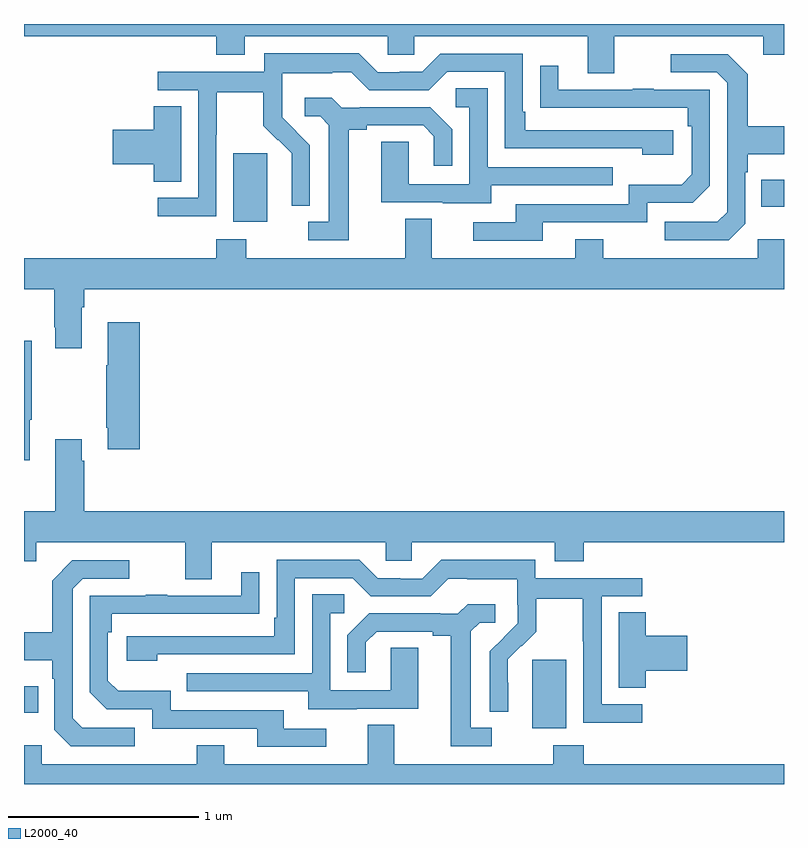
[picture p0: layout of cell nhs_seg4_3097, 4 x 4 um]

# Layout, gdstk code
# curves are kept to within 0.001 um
import gdstk
lib = gdstk.Library(unit=1e-6, precision=1e-09)
def R(c, l, rs):  # rectangles x0, y0, x1, y1
    for r in rs: c.add(gdstk.rectangle(r[:2], r[2:], *l))
def P(c, l, *ps):  # polygons
    for p in ps: c.add(gdstk.Polygon(p, *l))
L2000_40 = (2000, 40)

nhs_seg4_3097 = lib.new_cell('nhs_seg4_3097')
R(nhs_seg4_3097, L2000_40, [(277.676,777.194,277.855,777.555), (275,777.275,275.075,777.415), (276.101,779.858,276.28,780.219), (278.881,779.939,279,780.079)])
P(nhs_seg4_3097, L2000_40, [(278.107,780.836),(278.891,780.836),(278.891,780.737),(279,780.737),(279,780.9),(275,780.9),(275,780.836),(276.011,780.836),(276.011,780.737),(276.163,780.737),(276.163,780.836),(276.915,780.836),(276.915,780.738),(277.053,780.738),(277.053,780.836),(277.967,780.836),(277.967,780.642),(278.107,780.642)],
  [(276.012,780.316),(276.015,780.316),(276.015,780.54),(276.259,780.54),(276.259,780.365),(276.336,780.288),(276.339,780.291),(276.41,780.221),(276.41,780.098),(276.408,780.098),(276.408,779.944),(276.504,779.944),(276.504,780.262),(276.358,780.41),(276.358,780.507),(276.36,780.507),(276.36,780.641),(276.623,780.641),(276.623,780.645),(276.723,780.645),(276.816,780.552),(277.131,780.552),(277.227,780.648),(277.53,780.648),(277.53,780.246),(278.255,780.246),(278.255,780.212),(278.416,780.212),(278.416,780.342),(277.639,780.342),(277.639,780.439),(277.626,780.439),(277.626,780.744),(277.191,780.744),(277.095,780.648),(276.977,780.648),(276.977,780.645),(276.861,780.645),(276.761,780.745),(276.264,780.745),(276.264,780.648),(275.703,780.648),(275.703,780.552),(275.916,780.552),(275.916,779.985),(275.703,779.985),(275.703,779.887),(276.012,779.887)],
  [(278.796,779.85),(278.796,780.119),(278.809,780.119),(278.809,780.215),(279,780.215),(279,780.363),(278.809,780.363),(278.809,780.635),(278.703,780.741),(278.403,780.741),(278.403,780.645),(278.646,780.645),(278.7,780.591),(278.7,779.91),(278.649,779.859),(278.373,779.859),(278.373,779.763),(278.709,779.763)],
  [(277.729,779.856),(278.28,779.856),(278.28,779.958),(278.52,779.958),(278.61,780.048),(278.61,780.555),(278.315,780.555),(278.315,780.56),(278.203,780.56),(278.203,780.555),(277.813,780.555),(277.813,780.679),(277.717,780.679),(277.717,780.46),(278.494,780.459),(278.494,780.362),(278.514,780.362),(278.514,780.108),(278.461,780.055),(278.184,780.055),(278.184,779.952),(277.589,779.952),(277.589,779.856),(277.365,779.856),(277.365,779.76),(277.729,779.76)],
  [(277.459,780.051),(278.099,780.051),(278.099,780.147),(277.44,780.147),(277.44,780.563),(277.272,780.563),(277.272,780.462),(277.344,780.462),(277.344,780.057),(277.026,780.057),(277.026,780.281),(276.881,780.281),(276.881,779.961),(277.205,779.961),(277.205,779.957),(277.459,779.957)],
  [(276.709,780.344),(276.805,780.344),(276.805,780.366),(277.1,780.366),(277.157,780.309),(277.157,780.153),(277.254,780.153),(277.254,780.346),(277.138,780.462),(276.766,780.462),(276.766,780.459),(276.672,780.459),(276.62,780.511),(276.477,780.511),(276.477,780.414),(276.558,780.414),(276.605,780.367),(276.605,779.859),(276.495,779.859),(276.495,779.763),(276.709,779.763)],
  [(275.827,780.467),(275.684,780.467),(275.684,780.344),(275.466,780.344),(275.466,780.161),(275.684,780.161),(275.684,780.07),(275.827,780.07)],
  [(275.305,779.408),(275.318,779.408),(275.318,779.504),(279,779.504),(279,779.767),(278.862,779.767),(278.862,779.668),(278.049,779.668),(278.049,779.767),(277.901,779.767),(277.901,779.668),(277.147,779.668),(277.147,779.876),(277.007,779.876),(277.007,779.668),(276.171,779.668),(276.171,779.767),(276.011,779.767),(276.011,779.668),(275,779.668),(275,779.504),(275.158,779.504),(275.158,779.305),(275.165,779.305),(275.165,779.193),(275.305,779.193)],
  [(275.609,779.329),(275.441,779.329),(275.441,779.105),(275.434,779.105),(275.434,778.774),(275.441,778.774),(275.441,778.662),(275.609,778.662)],
  [(275.029,778.817),(275.041,778.817),(275.041,779.233),(275,779.233),(275,778.605),(275.029,778.605)],
  [(275.989,778.172),(276.903,778.172),(276.903,778.074),(277.041,778.074),(277.041,778.172),(277.793,778.172),(277.793,778.073),(277.946,778.073),(277.946,778.172),(279,778.172),(279,778.336),(275.318,778.336),(275.318,778.601),(275.305,778.601),(275.305,778.714),(275.165,778.714),(275.165,778.336),(275,778.336),(275,778.073),(275.065,778.073),(275.065,778.172),(275.849,778.172),(275.849,777.978),(275.989,777.978)],
  [(278.254,777.321),(278.04,777.321),(278.04,777.888),(278.254,777.888),(278.254,777.984),(277.692,777.984),(277.692,778.081),(277.195,778.081),(277.095,777.981),(276.98,777.981),(276.98,777.984),(276.861,777.984),(276.765,778.08),(276.33,778.08),(276.33,777.775),(276.317,777.775),(276.317,777.678),(275.541,777.678),(275.541,777.548),(275.702,777.548),(275.702,777.582),(276.426,777.582),(276.426,777.984),(276.729,777.984),(276.825,777.888),(277.14,777.888),(277.233,777.981),(277.333,777.981),(277.333,777.977),(277.596,777.977),(277.596,777.843),(277.598,777.843),(277.598,777.746),(277.452,777.598),(277.452,777.28),(277.548,777.28),(277.547,777.557),(277.617,777.627),(277.62,777.624),(277.697,777.701),(277.697,777.876),(277.942,777.876),(277.942,777.652),(277.944,777.652),(277.944,777.223),(278.254,777.223)],
  [(275.584,777.195),(275.307,777.195),(275.256,777.246),(275.256,777.927),(275.31,777.981),(275.554,777.981),(275.554,778.077),(275.253,778.077),(275.148,777.971),(275.148,777.699),(275,777.699),(275,777.551),(275.148,777.551),(275.148,777.455),(275.16,777.455),(275.16,777.186),(275.247,777.099),(275.584,777.099)],
  [(276.592,777.192),(276.367,777.192),(276.367,777.288),(275.772,777.288),(275.772,777.391),(275.495,777.391),(275.442,777.444),(275.442,777.698),(275.462,777.698),(275.462,777.795),(276.239,777.796),(276.239,778.015),(276.143,778.015),(276.143,777.891),(275.753,777.891),(275.753,777.896),(275.641,777.896),(275.641,777.891),(275.346,777.891),(275.346,777.384),(275.436,777.294),(275.676,777.294),(275.676,777.192),(276.227,777.192),(276.227,777.096),(276.592,777.096)],
  [(276.751,777.297),(277.075,777.297),(277.075,777.617),(276.93,777.617),(276.93,777.393),(276.612,777.393),(276.612,777.798),(276.685,777.798),(276.685,777.899),(276.516,777.899),(276.516,777.483),(275.857,777.483),(275.857,777.387),(276.497,777.387),(276.497,777.293),(276.751,777.293)],
  [(277.462,777.195),(277.351,777.195),(277.351,777.703),(277.398,777.75),(277.48,777.75),(277.48,777.847),(277.336,777.847),(277.284,777.795),(277.19,777.795),(277.19,777.798),(276.818,777.798),(276.702,777.682),(276.702,777.489),(276.799,777.489),(276.799,777.645),(276.856,777.702),(277.151,777.702),(277.151,777.68),(277.247,777.68),(277.247,777.099),(277.462,777.099)],
  [(278.273,777.497),(278.491,777.497),(278.491,777.68),(278.273,777.68),(278.273,777.803),(278.129,777.803),(278.129,777.406),(278.273,777.406)],
  [(279,777.004),(277.946,777.004),(277.946,777.103),(277.786,777.103),(277.786,777.004),(276.949,777.004),(276.949,777.212),(276.809,777.212),(276.809,777.004),(276.055,777.004),(276.055,777.103),(275.908,777.103),(275.908,777.004),(275.094,777.004),(275.094,777.103),(275,777.103),(275,776.9),(279,776.9)])

lib.write_gds('nhs_seg4_3097.gds')
